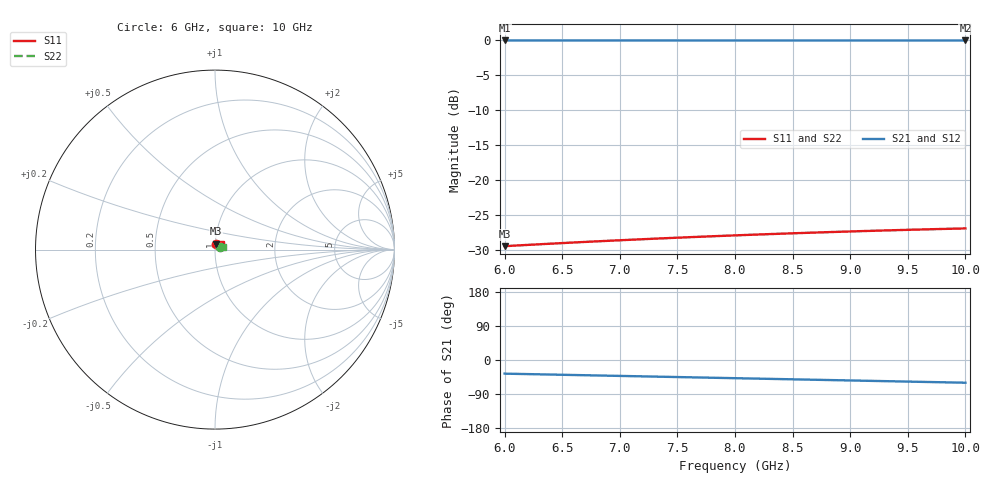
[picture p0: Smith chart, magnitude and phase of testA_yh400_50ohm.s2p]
! Touchstone file exported from HFSS 2024.2.0
!  File:  C:/Users/artho/Documents/Ansoft/ansys_testA.aedt
!  Generated:  01:04:51 AM Sep  7, 2026
!  Design:  HFSS_9FI
!  Project:  ansys_testA
!  Setup:  Setup1
!  Solution:  Sweep1
!Data is not renormalized
! Created with skrf 2.1.0 (http://scikit-rf.org).
! Data is not renormalized
! S-parameter uses the power definition
# GHz S RI R
! Port[1] = p1
! Port[2] = p2
!freq ReS11 ImS11 ReS21 ImS21 ReS12 ImS12 ReS22 ImS22
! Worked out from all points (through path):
!   41 points, 6 GHz to 10 GHz, reference per port
!   highest |S21| = 0.00 dB at 6 GHz (marker M1); lowest = 0.0 dB at 10 GHz (marker M2)
!   group delay of S21, straight-line fit = 16.6 ps
!   lowest |S11| = -29.4 dB at 6 GHz (marker M3), VSWR 1.07
!   |S11| at or under -10 dB: start of sweep to end of sweep
!   |S22| runs from -29.4 to -26.9 dB; largest |S21 - S12| = 1.7e-14
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6  0.00726 0.0331  0.8085 -0.5875  0.8085 -0.5875  0.0292 0.0171
! Port Impedance 50.00000000000000 0.00000000000000 50.00000000000000 0.00000000000000
6.1  0.00794 0.0333  0.8023 -0.5959  0.8023 -0.5959  0.0296 0.0172
6.3  0.0093 0.0337  0.7897 -0.6126  0.7897 -0.6126  0.0303 0.0174
6.5  0.0107 0.034  0.7766 -0.6289  0.7766 -0.6289  0.031 0.0175
6.7  0.0121 0.0343  0.7633 -0.645  0.7633 -0.645  0.0318 0.0176
7  0.0141 0.0346  0.7426 -0.6686  0.7426 -0.6686  0.0329 0.0177
7.2  0.0155 0.0347  0.7285 -0.684  0.7285 -0.684  0.0336 0.0177
7.4  0.0169 0.0347  0.714 -0.6991  0.714 -0.6991  0.0344 0.0177
7.7  0.019 0.0347  0.6917 -0.7211  0.6917 -0.7211  0.0354 0.0176
8  0.0211 0.0345  0.6687 -0.7425  0.6687 -0.7425  0.0365 0.0174
8.2  0.0225 0.0343  0.653 -0.7563  0.653 -0.7563  0.0372 0.0172
8.4  0.0239 0.0341  0.637 -0.7697  0.637 -0.7697  0.0379 0.0171
8.6  0.0252 0.0338  0.6207 -0.7829  0.6207 -0.7829  0.0386 0.0168
8.7  0.0259 0.0336  0.6125 -0.7893  0.6125 -0.7893  0.039 0.0167
8.9  0.0272 0.0332  0.5959 -0.8019  0.5959 -0.8019  0.0396 0.0164
9.1  0.0285 0.0327  0.5789 -0.8142  0.5789 -0.8142  0.0403 0.0161
9.3  0.0298 0.0322  0.5618 -0.8261  0.5618 -0.8261  0.0409 0.0158
9.4  0.0304 0.032  0.5531 -0.8319  0.5531 -0.8319  0.0412 0.0156
9.6  0.0316 0.0314  0.5356 -0.8433  0.5356 -0.8433  0.0418 0.0153
9.7  0.0322 0.0311  0.5267 -0.8489  0.5267 -0.8489  0.0421 0.0151
9.9  0.0334 0.0304  0.5088 -0.8597  0.5088 -0.8597  0.0427 0.0147
10  0.034 0.03  0.4998 -0.8649  0.4998 -0.8649  0.043 0.0144
